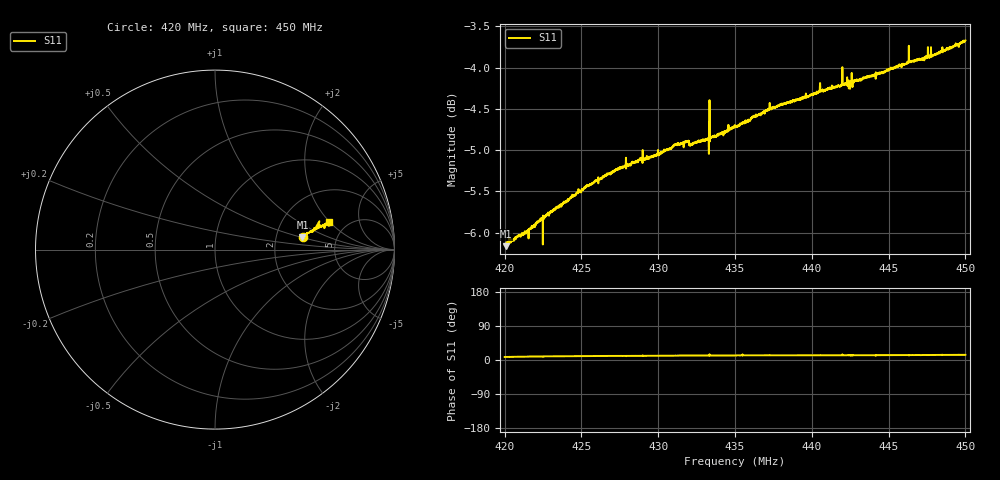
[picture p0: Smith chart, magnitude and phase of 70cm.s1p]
! Calibrated averaged scanner-service zoom
# Hz S RI R 50
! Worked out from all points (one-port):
!   3001 points, 420 MHz to 450 MHz, reference 50 ohm
!   lowest |S11| = -6.2 dB at 420.1 MHz (marker M1), VSWR 2.94, Z = 142 + j25.4 ohm
!   |S11| at or under -10 dB: nowhere
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4.2e8  0.488 0.0685
4.2008e8  0.4871 0.068
4.2141e8  0.4954 0.0779
4.2375e8  0.5136 0.09
4.2525e8  0.5244 0.0969
4.275e8  0.5391 0.1024
4.2805e8  0.5404 0.1024
4.3081e8  0.5527 0.1105
4.3125e8  0.5551 0.114
4.3185e8  0.5571 0.1165
4.3216e8  0.5549 0.1178
4.3285e8  0.5572 0.1185
4.3316e8  0.5591 0.1172
4.332e8  0.5586 0.1177
4.3347e8  0.5604 0.1179
4.3351e8  0.5602 0.1184
4.35e8  0.5685 0.1214
4.355e8  0.5712 0.1228
4.3708e8  0.5807 0.1246
4.3714e8  0.5822 0.1252
4.3875e8  0.589 0.1278
4.4057e8  0.5961 0.1311
4.4081e8  0.5973 0.1308
4.425e8  0.6014 0.1349
4.4468e8  0.6116 0.1391
4.4625e8  0.619 0.1428
4.4795e8  0.6252 0.1464
4.5e8  0.637 0.154
